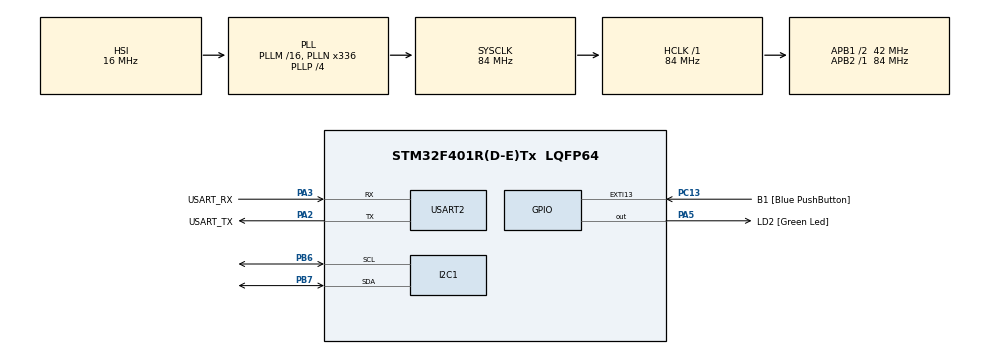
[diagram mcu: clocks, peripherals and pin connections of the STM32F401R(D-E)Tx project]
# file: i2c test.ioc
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I2C1.I2C_Mode=I2C_Fast
Mcu.Family=STM32F4
Mcu.Name=STM32F401R(D-E)Tx
Mcu.Package=LQFP64
NVIC.PriorityGroup=NVIC_PRIORITYGROUP_0
PA13.GPIO_Label=TMS
PA13.Mode=Serial_Wire
PA13.Signal=SYS_JTMS-SWDIO
PA14.GPIO_Label=TCK
PA14.Mode=Serial_Wire
PA14.Signal=SYS_JTCK-SWCLK
PA2.GPIO_Label=USART_TX
PA2.GPIO_Mode=GPIO_MODE_AF_PP
PA2.GPIO_PuPd=GPIO_NOPULL
PA2.GPIO_Speed=GPIO_SPEED_FREQ_LOW
PA2.Mode=Asynchronous
PA2.Signal=USART2_TX
PA3.GPIO_Label=USART_RX
PA3.GPIO_Mode=GPIO_MODE_AF_PP
PA3.GPIO_PuPd=GPIO_NOPULL
PA3.GPIO_Speed=GPIO_SPEED_FREQ_LOW
PA3.Mode=Asynchronous
PA3.Signal=USART2_RX
PA5.GPIO_Label=LD2 [Green Led]
PA5.GPIO_Mode=GPIO_MODE_OUTPUT_PP
PA5.GPIO_PuPd=GPIO_NOPULL
PA5.GPIO_Speed=GPIO_SPEED_FREQ_LOW
PA5.Signal=GPIO_Output
PB3.GPIO_Label=SWO
PB3.Signal=SYS_JTDO-SWO
PB6.Mode=I2C
PB6.Signal=I2C1_SCL
PB7.Mode=I2C
PB7.Signal=I2C1_SDA
PC13-ANTI_TAMP.GPIO_Label=B1 [Blue PushButton]
PC13-ANTI_TAMP.GPIO_ModeDefaultEXTI=GPIO_MODE_IT_FALLING
PC13-ANTI_TAMP.GPIO_PuPd=GPIO_NOPULL
PC13-ANTI_TAMP.Signal=GPXTI13
PC14-OSC32_IN.Mode=LSE-External-Oscillator
PC14-OSC32_IN.Signal=RCC_OSC32_IN
PC15-OSC32_OUT.Mode=LSE-External-Oscillator
PC15-OSC32_OUT.Signal=RCC_OSC32_OUT
PH0\ -\ OSC_IN.Mode=HSE-External-Clock-Source
PH0\ -\ OSC_IN.Signal=RCC_OSC_IN
PH1\ -\ OSC_OUT.Mode=HSE-External-Clock-Source
PH1\ -\ OSC_OUT.Signal=RCC_OSC_OUT
ProjectManager.HeapSize=0x200
ProjectManager.StackSize=0x400
ProjectManager.TargetToolchain=STM32CubeIDE
RCC.48MHZClocksFreq_Value=48000000
RCC.AHBFreq_Value=84000000
RCC.APB1CLKDivider=RCC_HCLK_DIV2
RCC.APB1Freq_Value=42000000
RCC.APB1TimFreq_Value=84000000
RCC.APB2Freq_Value=84000000
RCC.APB2TimFreq_Value=84000000
RCC.CortexFreq_Value=84000000
RCC.HCLKFreq_Value=84000000
RCC.HSE_VALUE=8000000
RCC.HSI_VALUE=16000000
RCC.PLLN=336
RCC.PLLP=RCC_PLLP_DIV4
RCC.PLLQ=7
RCC.SYSCLKFreq_VALUE=84000000
RCC.SYSCLKSource=RCC_SYSCLKSOURCE_PLLCLK
RCC.VCOOutputFreq_Value=336000000
USART2.VirtualMode=VM_ASYNC
board=NUCLEO-F401RE

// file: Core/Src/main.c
/* USER CODE BEGIN Header */
/**
  ******************************************************************************
  * @file           : main.c
  * @brief          : Main program body
  ******************************************************************************
  * @attention
  *
  * <h2><center>&copy; Copyright (c) 2020 STMicroelectronics.
  * All rights reserved.</center></h2>
  *
  * This software component is licensed by ST under BSD 3-Clause license,
  * the "License"; You may not use this file except in compliance with the
  * License. You may obtain a copy of the License at:
  *                        opensource.org/licenses/BSD-3-Clause
  *
  ******************************************************************************
  */
/* USER CODE END Header */
#include "main.h"

/* USER CODE BEGIN Includes */
#include "string.h"
#include "stdio.h"
#include "stdint.h"
#include "stdarg.h"
/* USER CODE END Includes */

I2C_HandleTypeDef hi2c1;

UART_HandleTypeDef huart2;

void SystemClock_Config(void);
static void MX_GPIO_Init(void);
static void MX_USART2_UART_Init(void);
static void MX_I2C1_Init(void);

/* USER CODE BEGIN 0 */
void printMsg(char *format, ...)
{
	char str[80];

	/*Extract the the argument list using VA apis */
	va_list args;
	va_start(args, format);
	vsprintf(str, format, args);
	HAL_UART_Transmit(&huart2, (uint8_t *)str, strlen(str), HAL_MAX_DELAY);
	va_end(args);
}
/* USER CODE END 0 */

int main(void)
{

  /* MCU Configuration--------------------------------------------------------*/

  /* Reset of all peripherals, Initializes the Flash interface and the Systick. */
  HAL_Init();

  /* Configure the system clock */
  SystemClock_Config();

  /* Initialize all configured peripherals */
  MX_GPIO_Init();
  MX_USART2_UART_Init();
  MX_I2C1_Init();
  /* USER CODE BEGIN 2 */
  for (int i=1; i<128; i++)
   	{
   	  /*
   	   * the HAL wants a left aligned i2c address
   	   * &hi2c1 is the handle
   	   * (uint16_t)(i<<1) is the i2c address left aligned
   	   * retries 2
   	   * timeout 2
   	   */
	  HAL_StatusTypeDef result = HAL_I2C_IsDeviceReady(&hi2c1, (i<<1), 2, 2);
   	  if (result != HAL_OK) // HAL_ERROR or HAL_BUSY or HAL_TIMEOUT
   	  {
   		printMsg("."); // No ACK received at that address
   	  }
   	  if (result == HAL_OK)
   	  {
   		printMsg("0x%02X  ", i); // Received an ACK at that address
   	  }
   	}
  printMsg("\n");
  /* USER CODE END 2 */

  /* Infinite loop */
  while (1)
  {

  }
}

void SystemClock_Config(void)
{
  RCC_OscInitTypeDef RCC_OscInitStruct = {0};
  RCC_ClkInitTypeDef RCC_ClkInitStruct = {0};

  /** Configure the main internal regulator output voltage
  */
  __HAL_RCC_PWR_CLK_ENABLE();
  __HAL_PWR_VOLTAGESCALING_CONFIG(PWR_REGULATOR_VOLTAGE_SCALE2);
  /** Initializes the RCC Oscillators according to the specified parameters
  * in the RCC_OscInitTypeDef structure.
  */
  RCC_OscInitStruct.OscillatorType = RCC_OSCILLATORTYPE_HSI;
  RCC_OscInitStruct.HSIState = RCC_HSI_ON;
  RCC_OscInitStruct.HSICalibrationValue = RCC_HSICALIBRATION_DEFAULT;
  RCC_OscInitStruct.PLL.PLLState = RCC_PLL_ON;
  RCC_OscInitStruct.PLL.PLLSource = RCC_PLLSOURCE_HSI;
  RCC_OscInitStruct.PLL.PLLM = 16;
  RCC_OscInitStruct.PLL.PLLN = 336;
  RCC_OscInitStruct.PLL.PLLP = RCC_PLLP_DIV4;
  RCC_OscInitStruct.PLL.PLLQ = 7;
  if (HAL_RCC_OscConfig(&RCC_OscInitStruct) != HAL_OK)
  {
    Error_Handler();
  }
  /** Initializes the CPU, AHB and APB buses clocks
  */
  RCC_ClkInitStruct.ClockType = RCC_CLOCKTYPE_HCLK|RCC_CLOCKTYPE_SYSCLK
                              |RCC_CLOCKTYPE_PCLK1|RCC_CLOCKTYPE_PCLK2;
  RCC_ClkInitStruct.SYSCLKSource = RCC_SYSCLKSOURCE_PLLCLK;
  RCC_ClkInitStruct.AHBCLKDivider = RCC_SYSCLK_DIV1;
  RCC_ClkInitStruct.APB1CLKDivider = RCC_HCLK_DIV2;
  RCC_ClkInitStruct.APB2CLKDivider = RCC_HCLK_DIV1;

  if (HAL_RCC_ClockConfig(&RCC_ClkInitStruct, FLASH_LATENCY_2) != HAL_OK)
  {
    Error_Handler();
  }
}

static void MX_I2C1_Init(void)
{

  hi2c1.Instance = I2C1;
  hi2c1.Init.ClockSpeed = 400000;
  hi2c1.Init.DutyCycle = I2C_DUTYCYCLE_2;
  hi2c1.Init.OwnAddress1 = 0;
  hi2c1.Init.AddressingMode = I2C_ADDRESSINGMODE_7BIT;
  hi2c1.Init.DualAddressMode = I2C_DUALADDRESS_DISABLE;
  hi2c1.Init.OwnAddress2 = 0;
  hi2c1.Init.GeneralCallMode = I2C_GENERALCALL_DISABLE;
  hi2c1.Init.NoStretchMode = I2C_NOSTRETCH_DISABLE;
  if (HAL_I2C_Init(&hi2c1) != HAL_OK)
  {
    Error_Handler();
  }

}

static void MX_USART2_UART_Init(void)
{

  huart2.Instance = USART2;
  huart2.Init.BaudRate = 115200;
  huart2.Init.WordLength = UART_WORDLENGTH_8B;
  huart2.Init.StopBits = UART_STOPBITS_1;
  huart2.Init.Parity = UART_PARITY_NONE;
  huart2.Init.Mode = UART_MODE_TX_RX;
  huart2.Init.HwFlowCtl = UART_HWCONTROL_NONE;
  huart2.Init.OverSampling = UART_OVERSAMPLING_16;
  if (HAL_UART_Init(&huart2) != HAL_OK)
  {
    Error_Handler();
  }

}

static void MX_GPIO_Init(void)
{
  GPIO_InitTypeDef GPIO_InitStruct = {0};

  /* GPIO Ports Clock Enable */
  __HAL_RCC_GPIOC_CLK_ENABLE();
  __HAL_RCC_GPIOH_CLK_ENABLE();
  __HAL_RCC_GPIOA_CLK_ENABLE();
  __HAL_RCC_GPIOB_CLK_ENABLE();

  /*Configure GPIO pin Output Level */
  HAL_GPIO_WritePin(LD2_GPIO_Port, LD2_Pin, GPIO_PIN_RESET);

  /*Configure GPIO pin : B1_Pin */
  GPIO_InitStruct.Pin = B1_Pin;
  GPIO_InitStruct.Mode = GPIO_MODE_IT_FALLING;
  GPIO_InitStruct.Pull = GPIO_NOPULL;
  HAL_GPIO_Init(B1_GPIO_Port, &GPIO_InitStruct);

  /*Configure GPIO pin : LD2_Pin */
  GPIO_InitStruct.Pin = LD2_Pin;
  GPIO_InitStruct.Mode = GPIO_MODE_OUTPUT_PP;
  GPIO_InitStruct.Pull = GPIO_NOPULL;
  GPIO_InitStruct.Speed = GPIO_SPEED_FREQ_LOW;
  HAL_GPIO_Init(LD2_GPIO_Port, &GPIO_InitStruct);

}

void Error_Handler(void)
{
  __disable_irq();
  while (1)
  {
  }
}

/************************ (C) COPYRIGHT STMicroelectronics *****END OF FILE****/
